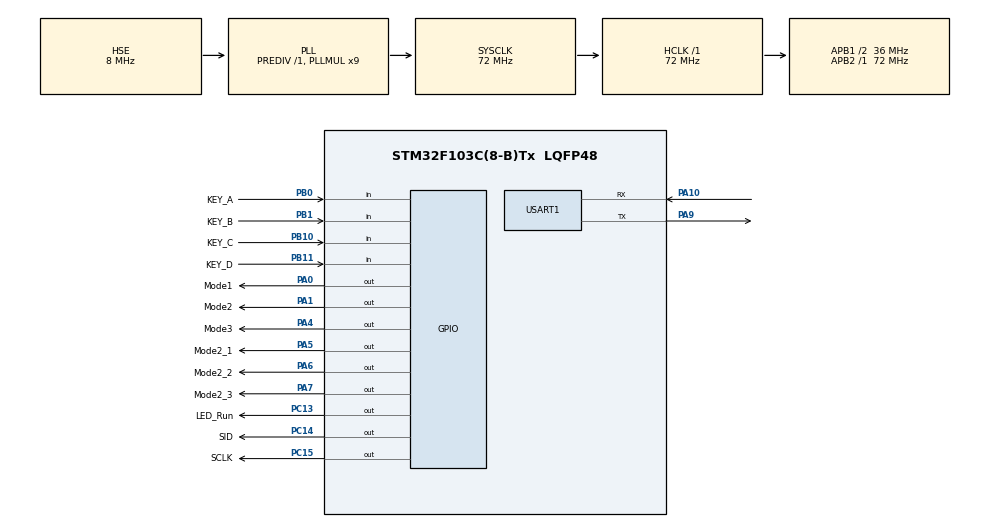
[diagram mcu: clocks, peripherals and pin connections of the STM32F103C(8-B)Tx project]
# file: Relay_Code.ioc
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FREERTOS.Queues01=pushButtonQueue,16,uint16_t,0,Dynamic,NULL,NULL
FREERTOS.Tasks01=defaultTask,0,128,StartDefaultTask,Default,NULL,Dynamic,NULL,NULL;Relay_Task,-3,128,RELAY_TASK,Default,NULL,Dynamic,NULL,NULL;pushButton,-3,128,PushButton,Default,NULL,Dynamic,NULL,NULL;LED,-3,128,LED_task,Default,NULL,Dynamic,NULL,NULL
Mcu.Family=STM32F1
Mcu.Name=STM32F103C(8-B)Tx
Mcu.Package=LQFP48
NVIC.PriorityGroup=NVIC_PRIORITYGROUP_4
NVIC.TIM1_UP_IRQn=true\:15\:0\:false\:false\:true\:false\:false\:true\:true
NVIC.TimeBase=TIM1_UP_IRQn
NVIC.TimeBaseIP=TIM1
NVIC.USART1_IRQn=true\:5\:0\:false\:false\:true\:true\:true\:true\:true
PA0-WKUP.GPIO_Label=Mode1
PA0-WKUP.Signal=GPIO_Output
PA1.GPIO_Label=Mode2
PA1.Signal=GPIO_Output
PA10.Mode=Asynchronous
PA10.Signal=USART1_RX
PA13.Mode=Serial_Wire
PA13.Signal=SYS_JTMS-SWDIO
PA14.Mode=Serial_Wire
PA14.Signal=SYS_JTCK-SWCLK
PA4.GPIO_Label=Mode3
PA4.Signal=GPIO_Output
PA5.GPIO_Label=Mode2_1
PA5.Signal=GPIO_Output
PA6.GPIO_Label=Mode2_2
PA6.Signal=GPIO_Output
PA7.GPIO_Label=Mode2_3
PA7.Signal=GPIO_Output
PA9.Mode=Asynchronous
PA9.Signal=USART1_TX
PB0.GPIO_Label=KEY_A
PB0.GPIO_PuPd=GPIO_PULLUP
PB0.Signal=GPIO_Input
PB1.GPIO_Label=KEY_B
PB1.GPIO_PuPd=GPIO_PULLUP
PB1.Signal=GPIO_Input
PB10.GPIO_Label=KEY_C
PB10.GPIO_PuPd=GPIO_PULLUP
PB10.Signal=GPIO_Input
PB11.GPIO_Label=KEY_D
PB11.GPIO_PuPd=GPIO_PULLUP
PB11.Signal=GPIO_Input
PC13-TAMPER-RTC.GPIO_Label=LED_Run
PC13-TAMPER-RTC.GPIO_ModeDefaultOutputPP=GPIO_MODE_OUTPUT_PP
PC13-TAMPER-RTC.GPIO_PuPd=GPIO_NOPULL
PC13-TAMPER-RTC.GPIO_Speed=GPIO_SPEED_FREQ_HIGH
PC13-TAMPER-RTC.PinState=GPIO_PIN_SET
PC13-TAMPER-RTC.Signal=GPIO_Output
PC14-OSC32_IN.GPIO_Label=SID
PC14-OSC32_IN.GPIO_ModeDefaultOutputPP=GPIO_MODE_OUTPUT_PP
PC14-OSC32_IN.GPIO_PuPd=GPIO_NOPULL
PC14-OSC32_IN.GPIO_Speed=GPIO_SPEED_FREQ_MEDIUM
PC14-OSC32_IN.PinState=GPIO_PIN_SET
PC14-OSC32_IN.Signal=GPIO_Output
PC15-OSC32_OUT.GPIO_Label=SCLK
PC15-OSC32_OUT.GPIO_ModeDefaultOutputPP=GPIO_MODE_OUTPUT_PP
PC15-OSC32_OUT.GPIO_PuPd=GPIO_NOPULL
PC15-OSC32_OUT.GPIO_Speed=GPIO_SPEED_FREQ_MEDIUM
PC15-OSC32_OUT.PinState=GPIO_PIN_SET
PC15-OSC32_OUT.Signal=GPIO_Output
PD0-OSC_IN.Mode=HSE-External-Oscillator
PD0-OSC_IN.Signal=RCC_OSC_IN
PD1-OSC_OUT.Mode=HSE-External-Oscillator
PD1-OSC_OUT.Signal=RCC_OSC_OUT
ProjectManager.HeapSize=0x200
ProjectManager.StackSize=0x400
ProjectManager.TargetToolchain=MDK-ARM V5
RCC.AHBFreq_Value=72000000
RCC.APB1CLKDivider=RCC_HCLK_DIV2
RCC.APB1Freq_Value=36000000
RCC.APB1TimFreq_Value=72000000
RCC.APB2Freq_Value=72000000
RCC.APB2TimFreq_Value=72000000
RCC.HCLKFreq_Value=72000000
RCC.PLLMUL=RCC_PLL_MUL9
RCC.PLLSourceVirtual=RCC_PLLSOURCE_HSE
RCC.SYSCLKFreq_VALUE=72000000
RCC.SYSCLKSource=RCC_SYSCLKSOURCE_PLLCLK
RCC.USBFreq_Value=72000000
USART1.VirtualMode=VM_ASYNC
VP_FREERTOS_VS_CMSIS_V1.Mode=CMSIS_V1
VP_SYS_VS_tim1.Mode=TIM1
board=custom

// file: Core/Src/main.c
/* USER CODE BEGIN Header */
/**
  ******************************************************************************
  * @file           : main.c
  * @brief          : Main program body
  ******************************************************************************
  * @attention
  *
  * Copyright (c) 2025 STMicroelectronics.
  * All rights reserved.
  *
  * This software is licensed under terms that can be found in the LICENSE file
  * in the root directory of this software component.
  * If no LICENSE file comes with this software, it is provided AS-IS.
  *
  ******************************************************************************
  */
/* USER CODE END Header */
#include "main.h"
#include "cmsis_os.h"
#include "usart.h"
#include "gpio.h"

/* USER CODE BEGIN PD */
uint8_t mode = 0;		//模式选择
uint8_t count1 = 0;	//模式二计数
/* USER CODE END PD */

void SystemClock_Config(void);
void MX_FREERTOS_Init(void);

int main(void)
{

  /* MCU Configuration--------------------------------------------------------*/

  /* Reset of all peripherals, Initializes the Flash interface and the Systick. */
  HAL_Init();

  /* Configure the system clock */
  SystemClock_Config();

  /* Initialize all configured peripherals */
  MX_GPIO_Init();
  MX_USART1_UART_Init();
  /* USER CODE BEGIN 2 */

//	HAL_UART_Receive_IT(&huart1, &rx1_temp_char, 1);	//添加接收中断开启

  /* USER CODE END 2 */

  /* Call init function for freertos objects (in cmsis_os2.c) */
  MX_FREERTOS_Init();

  /* Start scheduler */
  osKernelStart();

  /* We should never get here as control is now taken by the scheduler */

  /* Infinite loop */
  while (1)
  {

  }
}

void SystemClock_Config(void)
{
  RCC_OscInitTypeDef RCC_OscInitStruct = {0};
  RCC_ClkInitTypeDef RCC_ClkInitStruct = {0};

  /** Initializes the RCC Oscillators according to the specified parameters
  * in the RCC_OscInitTypeDef structure.
  */
  RCC_OscInitStruct.OscillatorType = RCC_OSCILLATORTYPE_HSE;
  RCC_OscInitStruct.HSEState = RCC_HSE_ON;
  RCC_OscInitStruct.HSEPredivValue = RCC_HSE_PREDIV_DIV1;
  RCC_OscInitStruct.HSIState = RCC_HSI_ON;
  RCC_OscInitStruct.PLL.PLLState = RCC_PLL_ON;
  RCC_OscInitStruct.PLL.PLLSource = RCC_PLLSOURCE_HSE;
  RCC_OscInitStruct.PLL.PLLMUL = RCC_PLL_MUL9;
  if (HAL_RCC_OscConfig(&RCC_OscInitStruct) != HAL_OK)
  {
    Error_Handler();
  }

  /** Initializes the CPU, AHB and APB buses clocks
  */
  RCC_ClkInitStruct.ClockType = RCC_CLOCKTYPE_HCLK|RCC_CLOCKTYPE_SYSCLK
                              |RCC_CLOCKTYPE_PCLK1|RCC_CLOCKTYPE_PCLK2;
  RCC_ClkInitStruct.SYSCLKSource = RCC_SYSCLKSOURCE_PLLCLK;
  RCC_ClkInitStruct.AHBCLKDivider = RCC_SYSCLK_DIV1;
  RCC_ClkInitStruct.APB1CLKDivider = RCC_HCLK_DIV2;
  RCC_ClkInitStruct.APB2CLKDivider = RCC_HCLK_DIV1;

  if (HAL_RCC_ClockConfig(&RCC_ClkInitStruct, FLASH_LATENCY_2) != HAL_OK)
  {
    Error_Handler();
  }
}

/* USER CODE BEGIN 4 */

void HAL_UART_RxCpltCallback(UART_HandleTypeDef *huart)	//串口中断回调函数
{
  static uint16_t usart1_rx_counter = 0; // 接收计数器
  UNUSED(huart); //消除警告

	if(usart1_rx_counter < UART1_RX_LENGTH)
		{
			usart1_receive_buffer[usart1_rx_counter++] = rx1_temp_char;   //接收数据转存
			if(rx1_temp_char == '\n')
			{
			 //将'\n'(usart1_rx_counter)后面的数据清空; usart1_receive_buffer[0] = NULL表示将整个数组清空
			 usart1_receive_buffer[usart1_rx_counter] = NULL;
			 usart1_rx_counter = 0;
			 //printf("%s",usart1_receive_buffer);  //测试语句，不需要可以删除
			}
		}
	 HAL_UART_Receive_IT(&huart1, (uint8_t *)&rx1_temp_char, 1);   //再开启接收中断
}

/* USER CODE END 4 */

void HAL_TIM_PeriodElapsedCallback(TIM_HandleTypeDef *htim)
{
  if (htim->Instance == TIM1) {
    HAL_IncTick();
  }
}

void Error_Handler(void)
{
  __disable_irq();
  while (1)
  {
  }
}

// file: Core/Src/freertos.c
/* USER CODE BEGIN Header */
/**
  ******************************************************************************
  * File Name          : freertos.c
  * Description        : Code for freertos applications
  ******************************************************************************
  * @attention
  *
  * Copyright (c) 2025 STMicroelectronics.
  * All rights reserved.
  *
  * This software is licensed under terms that can be found in the LICENSE file
  * in the root directory of this software component.
  * If no LICENSE file comes with this software, it is provided AS-IS.
  *
  ******************************************************************************
  */
/* USER CODE END Header */

#include "FreeRTOS.h"
#include "task.h"
#include "main.h"
#include "cmsis_os.h"

/* USER CODE BEGIN Includes */
#include "delay.h"
#include "lcd12864.h"
#include "pushButton.h"
#include "menu.h"
#include "usart.h"
/* USER CODE END Includes */

osThreadId defaultTaskHandle;
osThreadId Relay_TaskHandle;
osThreadId pushButtonHandle;
osThreadId LEDHandle;
osMessageQId pushButtonQueueHandle;

void StartDefaultTask(void const * argument);
void RELAY_TASK(void const * argument);
void PushButton(void const * argument);
void LED_task(void const * argument);

void MX_FREERTOS_Init(void); /* (MISRA C 2004 rule 8.1) */

/* GetIdleTaskMemory prototype (linked to static allocation support) */
void vApplicationGetIdleTaskMemory( StaticTask_t **ppxIdleTaskTCBBuffer, StackType_t **ppxIdleTaskStackBuffer, uint32_t *pulIdleTaskStackSize );

/* USER CODE BEGIN GET_IDLE_TASK_MEMORY */
static StaticTask_t xIdleTaskTCBBuffer;
static StackType_t xIdleStack[configMINIMAL_STACK_SIZE];

void vApplicationGetIdleTaskMemory( StaticTask_t **ppxIdleTaskTCBBuffer, StackType_t **ppxIdleTaskStackBuffer, uint32_t *pulIdleTaskStackSize )
{
  *ppxIdleTaskTCBBuffer = &xIdleTaskTCBBuffer;
  *ppxIdleTaskStackBuffer = &xIdleStack[0];
  *pulIdleTaskStackSize = configMINIMAL_STACK_SIZE;
  /* place for user code */
}
/* USER CODE END GET_IDLE_TASK_MEMORY */

void MX_FREERTOS_Init(void) {

  /* Create the queue(s) */
  /* definition and creation of pushButtonQueue */
  osMessageQDef(pushButtonQueue, 16, uint16_t);
  pushButtonQueueHandle = osMessageCreate(osMessageQ(pushButtonQueue), NULL);

  /* Create the thread(s) */
  /* definition and creation of defaultTask */
  osThreadDef(defaultTask, StartDefaultTask, osPriorityNormal, 0, 128);
  defaultTaskHandle = osThreadCreate(osThread(defaultTask), NULL);

  /* definition and creation of Relay_Task */
  osThreadDef(Relay_Task, RELAY_TASK, osPriorityIdle, 0, 128);
  Relay_TaskHandle = osThreadCreate(osThread(Relay_Task), NULL);

  /* definition and creation of pushButton */
  osThreadDef(pushButton, PushButton, osPriorityIdle, 0, 128);
  pushButtonHandle = osThreadCreate(osThread(pushButton), NULL);

  /* definition and creation of LED */
  osThreadDef(LED, LED_task, osPriorityIdle, 0, 128);
  LEDHandle = osThreadCreate(osThread(LED), NULL);

}

void StartDefaultTask(void const * argument)
{
  /* USER CODE BEGIN StartDefaultTask */
  /* Infinite loop */
  for(;;)
  {
    delay_ms(1);
  }
  /* USER CODE END StartDefaultTask */
}

void RELAY_TASK(void const * argument)
{
  /* USER CODE BEGIN RELAY_TASK */
	uint16_t count = 0;

  /* Infinite loop */
  for(;;)
  {
		if(mode == 1)
		{
			HAL_GPIO_WritePin(Mode1_GPIO_Port, Mode1_Pin, GPIO_PIN_SET);
			HAL_GPIO_WritePin(Mode2_GPIO_Port, Mode2_Pin, GPIO_PIN_SET);
			HAL_GPIO_WritePin(Mode3_GPIO_Port, Mode3_Pin, GPIO_PIN_RESET);
			HAL_GPIO_WritePin(Mode2_1_GPIO_Port, Mode2_1_Pin, GPIO_PIN_RESET);
			HAL_GPIO_WritePin(Mode2_2_GPIO_Port, Mode2_2_Pin, GPIO_PIN_RESET);
			HAL_GPIO_WritePin(Mode2_3_GPIO_Port, Mode2_3_Pin, GPIO_PIN_RESET);
		}
		if(mode == 2)
		{
			count++;
			if(count == 2000)
			{
				count = 0;
				count1++;
				if(count1 == 3)
				{
					count1 = 0;
				}
			}
			HAL_GPIO_WritePin(Mode1_GPIO_Port, Mode1_Pin, GPIO_PIN_RESET);
			HAL_GPIO_WritePin(Mode2_GPIO_Port, Mode2_Pin, GPIO_PIN_RESET);
			HAL_GPIO_WritePin(Mode3_GPIO_Port, Mode3_Pin, GPIO_PIN_RESET);
		}
		if(mode == 3)
		{
			HAL_GPIO_WritePin(Mode1_GPIO_Port, Mode1_Pin, GPIO_PIN_RESET);
			HAL_GPIO_WritePin(Mode2_GPIO_Port, Mode2_Pin, GPIO_PIN_RESET);
			HAL_GPIO_WritePin(Mode3_GPIO_Port, Mode3_Pin, GPIO_PIN_SET);
			HAL_GPIO_WritePin(Mode2_1_GPIO_Port, Mode2_1_Pin, GPIO_PIN_RESET);
			HAL_GPIO_WritePin(Mode2_2_GPIO_Port, Mode2_2_Pin, GPIO_PIN_RESET);
			HAL_GPIO_WritePin(Mode2_3_GPIO_Port, Mode2_3_Pin, GPIO_PIN_RESET);
		}
    osDelay(1);
  }
  /* USER CODE END RELAY_TASK */
}

void PushButton(void const * argument)
{
  /* USER CODE BEGIN PushButton */
	uint8_t i;
	delay_init();
	Lcd_Init();
	LCD_Display_Words(0,0,(uint8_t *)"ϵͳ������");
	for(;i<3;i++)
	{
		LCD_Display_Words(0,5+i,(uint8_t *)".");
		delay_ms(500);
	}
	LCD_Clear();
  /* Infinite loop */
  for(;;)
  {
		menu1();
    delay_ms(1);
  }
  /* USER CODE END PushButton */
}

void LED_task(void const * argument)
{
  /* USER CODE BEGIN LED_task */

  /* Infinite loop */
  for(;;)
  {
		HAL_GPIO_TogglePin(LED_Run_GPIO_Port, LED_Run_Pin);
		printf("aaa");
    osDelay(500);
  }
  /* USER CODE END LED_task */
}
